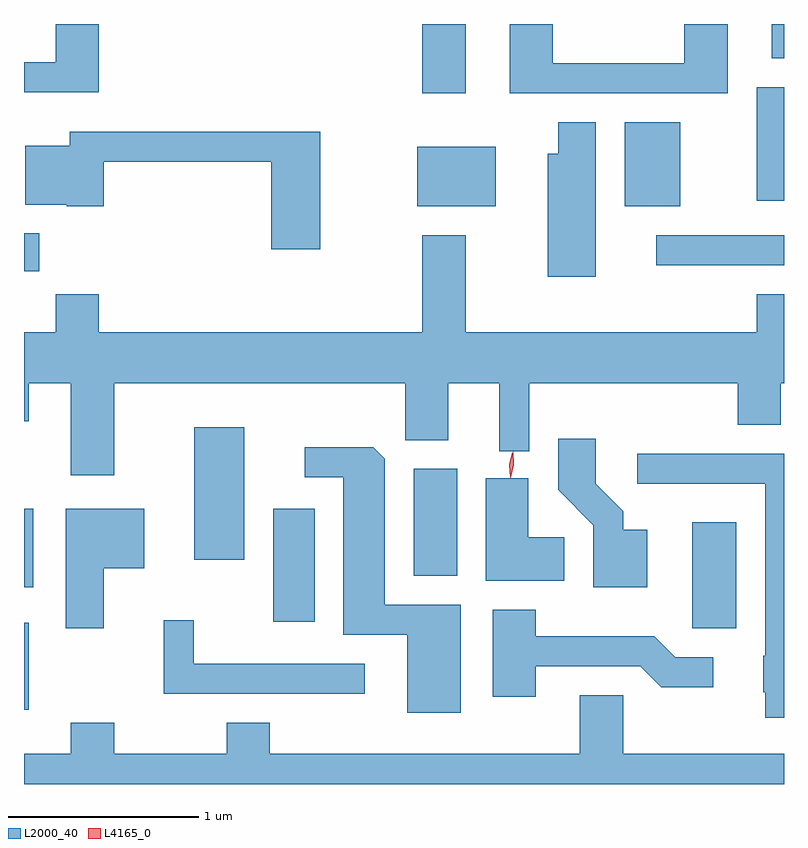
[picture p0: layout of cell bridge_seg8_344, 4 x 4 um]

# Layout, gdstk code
import gdstk
lib = gdstk.Library(unit=1e-6, precision=1e-09)
def R(c, l, rs):  # rectangles x0, y0, x1, y1
    for r in rs: c.add(gdstk.rectangle(r[:2], r[2:], *l))
def P(c, l, *ps):  # polygons
    for p in ps: c.add(gdstk.Polygon(p, *l))
L2000_40 = (2000, 40)
L4165_0 = (4165, 0)

bridge_seg8_344 = lib.new_cell('bridge_seg8_344')
R(bridge_seg8_344, L2000_40, [(620.595,1923.496,620.619,1923.954), (624.111,1923.926,624.344,1924.484), (621.906,1923.961,622.124,1924.554), (620.595,1924.141,620.644,1924.554), (622.646,1924.201,622.874,1924.764), (621.491,1924.286,621.754,1924.984), (620.595,1925.806,620.674,1926.004), (623.923,1925.836,624.595,1925.994), (622.666,1926.146,623.079,1926.459), (623.756,1926.146,624.049,1926.589), (624.451,1926.176,624.595,1926.774), (622.691,1926.741,622.919,1927.106), (624.531,1926.926,624.595,1927.106)])
P(bridge_seg8_344, L2000_40, [(620.989,1927.106),(620.761,1927.106),(620.761,1926.904),(620.595,1926.904),(620.595,1926.746),(620.989,1926.746)],
  [(624.299,1927.106),(624.071,1927.106),(624.071,1926.899),(623.379,1926.899),(623.379,1927.106),(623.151,1927.106),(623.151,1926.741),(624.299,1926.741)],
  [(623.604,1926.589),(623.406,1926.589),(623.406,1926.424),(623.351,1926.424),(623.351,1925.776),(623.604,1925.776)],
  [(622.154,1926.539),(620.836,1926.539),(620.836,1926.464),(620.601,1926.464),(620.601,1926.156),(620.82,1926.156),(620.82,1926.146),(621.014,1926.146),(621.014,1926.381),(621.896,1926.381),(621.896,1925.921),(622.154,1925.921)],
  [(621.069,1925.216),(622.601,1925.216),(622.601,1924.916),(622.829,1924.916),(622.829,1925.216),(623.096,1925.216),(623.096,1924.858),(623.254,1924.858),(623.254,1925.216),(624.351,1925.216),(624.351,1924.996),(624.579,1924.996),(624.579,1925.216),(624.595,1925.216),(624.595,1925.684),(624.451,1925.684),(624.451,1925.484),(622.919,1925.484),(622.919,1925.994),(622.691,1925.994),(622.691,1925.484),(620.989,1925.484),(620.989,1925.684),(620.761,1925.684),(620.761,1925.484),(620.595,1925.484),(620.595,1925.016),(620.619,1925.016),(620.619,1925.216),(620.841,1925.216),(620.841,1924.731),(621.069,1924.731)],
  [(623.874,1924.444),(623.749,1924.444),(623.749,1924.542),(623.604,1924.687),(623.604,1924.924),(623.406,1924.924),(623.406,1924.654),(623.591,1924.469),(623.591,1924.141),(623.874,1924.141)],
  [(622.894,1924.049),(622.494,1924.049),(622.494,1924.819),(622.434,1924.879),(622.073,1924.879),(622.073,1924.721),(622.276,1924.721),(622.276,1923.891),(622.611,1923.891),(622.611,1923.481),(622.894,1923.481)],
  [(624.595,1924.844),(623.823,1924.844),(623.823,1924.686),(624.496,1924.686),(624.496,1923.78),(624.486,1923.78),(624.486,1923.59),(624.496,1923.59),(624.496,1923.456),(624.595,1923.456)],
  [(623.439,1924.404),(623.249,1924.404),(623.249,1924.714),(623.026,1924.714),(623.026,1924.176),(623.439,1924.176)],
  [(621.014,1924.241),(621.229,1924.241),(621.229,1924.554),(620.816,1924.554),(620.816,1923.926),(621.014,1923.926)],
  [(623.289,1923.726),(623.839,1923.726),(623.949,1923.616),(624.223,1923.616),(624.223,1923.774),(624.022,1923.774),(623.912,1923.884),(623.289,1923.884),(623.289,1924.024),(623.061,1924.024),(623.061,1923.566),(623.289,1923.566)],
  [(622.388,1923.739),(621.489,1923.739),(621.489,1923.968),(621.331,1923.968),(621.331,1923.581),(622.388,1923.581)],
  [(624.595,1923.264),(623.749,1923.264),(623.749,1923.574),(623.521,1923.574),(623.521,1923.264),(621.889,1923.264),(621.889,1923.429),(621.661,1923.429),(621.661,1923.264),(621.069,1923.264),(621.069,1923.429),(620.841,1923.429),(620.841,1923.264),(620.595,1923.264),(620.595,1923.106),(624.595,1923.106)])
P(bridge_seg8_344, L4165_0, [(623.158,1924.716),(623.157,1924.717),(623.153,1924.786),(623.169,1924.854),(623.169,1924.854),(623.17,1924.854),(623.173,1924.785),(623.158,1924.717)],
  [(623.153,1924.72),(623.149,1924.786),(623.164,1924.851),(623.164,1924.852),(623.165,1924.851),(623.169,1924.785),(623.154,1924.72),(623.154,1924.72)])

lib.write_gds('bridge_seg8_344.gds')
